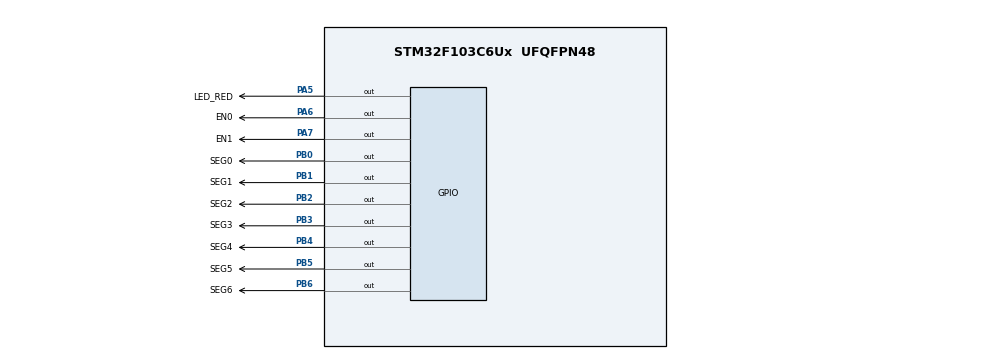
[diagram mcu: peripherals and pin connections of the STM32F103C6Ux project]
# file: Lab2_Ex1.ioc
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Mcu.Family=STM32F1
Mcu.Name=STM32F103C6Ux
Mcu.Package=UFQFPN48
NVIC.PriorityGroup=NVIC_PRIORITYGROUP_4
NVIC.TIM2_IRQn=true\:0\:0\:false\:false\:true\:true\:true\:true
PA5.GPIO_Label=LED_RED
PA5.Signal=GPIO_Output
PA6.GPIO_Label=EN0
PA6.Signal=GPIO_Output
PA7.GPIO_Label=EN1
PA7.Signal=GPIO_Output
PB0.GPIO_Label=SEG0
PB0.Signal=GPIO_Output
PB1.GPIO_Label=SEG1
PB1.Signal=GPIO_Output
PB2.GPIO_Label=SEG2
PB2.Signal=GPIO_Output
PB3.GPIO_Label=SEG3
PB3.Signal=GPIO_Output
PB4.GPIO_Label=SEG4
PB4.Signal=GPIO_Output
PB5.GPIO_Label=SEG5
PB5.Signal=GPIO_Output
PB6.GPIO_Label=SEG6
PB6.Signal=GPIO_Output
ProjectManager.HeapSize=0x200
ProjectManager.StackSize=0x400
ProjectManager.TargetToolchain=STM32CubeIDE
RCC.APB1Freq_Value=8000000
RCC.APB2Freq_Value=8000000
TIM2.Period=9
TIM2.Prescaler=7999
VP_TIM2_VS_ClockSourceINT.Mode=Internal
board=custom

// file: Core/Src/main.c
/* USER CODE BEGIN Header */
/**
 ******************************************************************************
 * @file           : main.c
 * @brief          : Main program body
 ******************************************************************************
 * @attention
 *
 * Copyright (c) 2022 STMicroelectronics.
 * All rights reserved.
 *
 * This software is licensed under terms that can be found in the LICENSE file
 * in the root directory of this software component.
 * If no LICENSE file comes with this software, it is provided AS-IS.
 *
 ******************************************************************************
 */
/* USER CODE END Header */
#include "main.h"

/* USER CODE BEGIN PTD */
int c = 1;
int state = 0;
/* USER CODE END PTD */

/* USER CODE BEGIN PD */
#define RUN_TIME 50
/* USER CODE END PD */

TIM_HandleTypeDef htim2;

void SystemClock_Config(void);
static void MX_GPIO_Init(void);
static void MX_TIM2_Init(void);

/* USER CODE BEGIN 0 */
static uint8_t LED7_SEG[10] = {0xC0, 0xF9, 0xA4, 0xB0, 0x99, 0x92, 0x82, 0xF8, 0x80, 0x90};

void display7SEG(int index)
{
  HAL_GPIO_WritePin(GPIOB, GPIO_PIN_0, ((LED7_SEG[index] >> 0) & 0x01));
  HAL_GPIO_WritePin(GPIOB, GPIO_PIN_1, ((LED7_SEG[index] >> 1) & 0x01));
  HAL_GPIO_WritePin(GPIOB, GPIO_PIN_2, ((LED7_SEG[index] >> 2) & 0x01));
  HAL_GPIO_WritePin(GPIOB, GPIO_PIN_3, ((LED7_SEG[index] >> 3) & 0x01));
  HAL_GPIO_WritePin(GPIOB, GPIO_PIN_4, ((LED7_SEG[index] >> 4) & 0x01));
  HAL_GPIO_WritePin(GPIOB, GPIO_PIN_5, ((LED7_SEG[index] >> 5) & 0x01));
  HAL_GPIO_WritePin(GPIOB, GPIO_PIN_6, ((LED7_SEG[index] >> 6) & 0x01));
}

/* USER CODE END 0 */

int main(void)
{

  /* MCU Configuration--------------------------------------------------------*/

  /* Reset of all peripherals, Initializes the Flash interface and the Systick. */
  HAL_Init();

  /* Configure the system clock */
  SystemClock_Config();

  /* Initialize all configured peripherals */
  MX_GPIO_Init();
  MX_TIM2_Init();
  /* USER CODE BEGIN 2 */
  HAL_TIM_Base_Start_IT(&htim2);
  /* USER CODE END 2 */

  /* Infinite loop */
  while (1)
  {

  }
}

void SystemClock_Config(void)
{
  RCC_OscInitTypeDef RCC_OscInitStruct = {0};
  RCC_ClkInitTypeDef RCC_ClkInitStruct = {0};

  /** Initializes the RCC Oscillators according to the specified parameters
   * in the RCC_OscInitTypeDef structure.
   */
  RCC_OscInitStruct.OscillatorType = RCC_OSCILLATORTYPE_HSI;
  RCC_OscInitStruct.HSIState = RCC_HSI_ON;
  RCC_OscInitStruct.HSICalibrationValue = RCC_HSICALIBRATION_DEFAULT;
  RCC_OscInitStruct.PLL.PLLState = RCC_PLL_NONE;
  if (HAL_RCC_OscConfig(&RCC_OscInitStruct) != HAL_OK)
  {
    Error_Handler();
  }

  /** Initializes the CPU, AHB and APB buses clocks
   */
  RCC_ClkInitStruct.ClockType = RCC_CLOCKTYPE_HCLK | RCC_CLOCKTYPE_SYSCLK | RCC_CLOCKTYPE_PCLK1 | RCC_CLOCKTYPE_PCLK2;
  RCC_ClkInitStruct.SYSCLKSource = RCC_SYSCLKSOURCE_HSI;
  RCC_ClkInitStruct.AHBCLKDivider = RCC_SYSCLK_DIV1;
  RCC_ClkInitStruct.APB1CLKDivider = RCC_HCLK_DIV1;
  RCC_ClkInitStruct.APB2CLKDivider = RCC_HCLK_DIV1;

  if (HAL_RCC_ClockConfig(&RCC_ClkInitStruct, FLASH_LATENCY_0) != HAL_OK)
  {
    Error_Handler();
  }
}

static void MX_TIM2_Init(void)
{

  TIM_ClockConfigTypeDef sClockSourceConfig = {0};
  TIM_MasterConfigTypeDef sMasterConfig = {0};

  htim2.Instance = TIM2;
  htim2.Init.Prescaler = 7999;
  htim2.Init.CounterMode = TIM_COUNTERMODE_UP;
  htim2.Init.Period = 9;
  htim2.Init.ClockDivision = TIM_CLOCKDIVISION_DIV1;
  htim2.Init.AutoReloadPreload = TIM_AUTORELOAD_PRELOAD_DISABLE;
  if (HAL_TIM_Base_Init(&htim2) != HAL_OK)
  {
    Error_Handler();
  }
  sClockSourceConfig.ClockSource = TIM_CLOCKSOURCE_INTERNAL;
  if (HAL_TIM_ConfigClockSource(&htim2, &sClockSourceConfig) != HAL_OK)
  {
    Error_Handler();
  }
  sMasterConfig.MasterOutputTrigger = TIM_TRGO_RESET;
  sMasterConfig.MasterSlaveMode = TIM_MASTERSLAVEMODE_DISABLE;
  if (HAL_TIMEx_MasterConfigSynchronization(&htim2, &sMasterConfig) != HAL_OK)
  {
    Error_Handler();
  }
}

static void MX_GPIO_Init(void)
{
  GPIO_InitTypeDef GPIO_InitStruct = {0};

  /* GPIO Ports Clock Enable */
  __HAL_RCC_GPIOA_CLK_ENABLE();
  __HAL_RCC_GPIOB_CLK_ENABLE();

  /*Configure GPIO pin Output Level */
  HAL_GPIO_WritePin(GPIOA, LED_RED_Pin | EN0_Pin | EN1_Pin, GPIO_PIN_RESET);

  /*Configure GPIO pin Output Level */
  HAL_GPIO_WritePin(GPIOB, SEG0_Pin | SEG1_Pin | SEG2_Pin | SEG3_Pin | SEG4_Pin | SEG5_Pin | SEG6_Pin, GPIO_PIN_RESET);

  /*Configure GPIO pins : LED_RED_Pin EN0_Pin EN1_Pin */
  GPIO_InitStruct.Pin = LED_RED_Pin | EN0_Pin | EN1_Pin;
  GPIO_InitStruct.Mode = GPIO_MODE_OUTPUT_PP;
  GPIO_InitStruct.Pull = GPIO_NOPULL;
  GPIO_InitStruct.Speed = GPIO_SPEED_FREQ_LOW;
  HAL_GPIO_Init(GPIOA, &GPIO_InitStruct);

  /*Configure GPIO pins : SEG0_Pin SEG1_Pin SEG2_Pin SEG3_Pin
                           SEG4_Pin SEG5_Pin SEG6_Pin */
  GPIO_InitStruct.Pin = SEG0_Pin | SEG1_Pin | SEG2_Pin | SEG3_Pin | SEG4_Pin | SEG5_Pin | SEG6_Pin;
  GPIO_InitStruct.Mode = GPIO_MODE_OUTPUT_PP;
  GPIO_InitStruct.Pull = GPIO_NOPULL;
  GPIO_InitStruct.Speed = GPIO_SPEED_FREQ_LOW;
  HAL_GPIO_Init(GPIOB, &GPIO_InitStruct);
}

/* USER CODE BEGIN 4 */

void HAL_TIM_PeriodElapsedCallback(TIM_HandleTypeDef *htim)
{
  c--;
  if (c <= 0)
  {
    c = RUN_TIME;
    display7SEG(state + 1);
    HAL_GPIO_TogglePin(LED_RED_GPIO_Port, LED_RED_Pin);
    if (state == 0)
    {
      HAL_GPIO_WritePin(EN0_GPIO_Port, EN0_Pin, RESET);
      HAL_GPIO_WritePin(EN1_GPIO_Port, EN1_Pin, SET);
    }
    else
    {
      HAL_GPIO_WritePin(EN0_GPIO_Port, EN0_Pin, SET);
      HAL_GPIO_WritePin(EN1_GPIO_Port, EN1_Pin, RESET);
    }
    state = !state;
  }
}

/* USER CODE END 4 */

void Error_Handler(void)
{
  __disable_irq();
  while (1)
  {
  }
}
